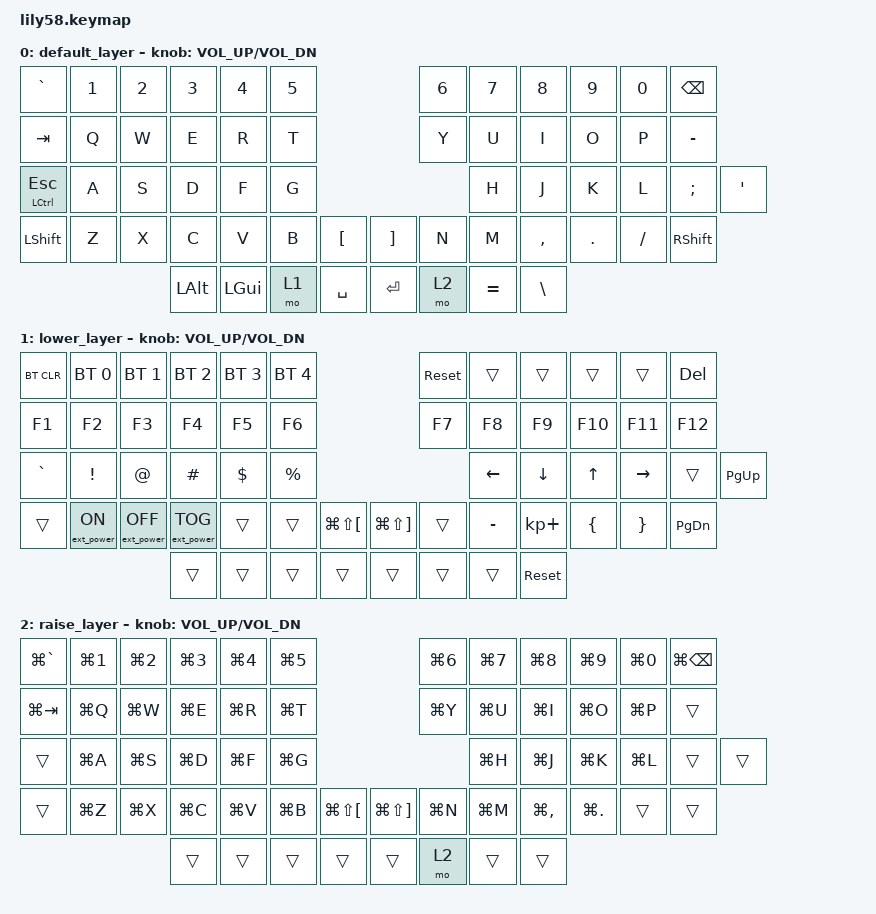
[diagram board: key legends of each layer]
/*
 * Copyright (c) 2020 The ZMK Contributors
 *
 * SPDX-License-Identifier: MIT
 */

#include <behaviors.dtsi>
#include <dt-bindings/zmk/keys.h>
#include <dt-bindings/zmk/bt.h>
#include <dt-bindings/zmk/ext_power.h>
#include <dt-bindings/zmk/outputs.h>

&mt {
  tapping-term-ms = <200>;
};

/ {
	keymap {
		compatible = "zmk,keymap";

		default_layer {
// ------------------------------------------------------------------------------------------------------------
// |  ESC  |  1  |  2  |  3   |  4   |  5   |                   |  6   |  7    |  8    |  9   |   0   |   `   |
// |  TAB  |  Q  |  W  |  E   |  R   |  T   |                   |  Y   |  U    |  I    |  O   |   P   |   -   |
// |  CTRL |  A  |  S  |  D   |  F   |  G   |                   |  H   |  J    |  K    |  L   |   ;   |   '   |
// | SHIFT |  Z  |  X  |  C   |  V   |  B   |   "["  |  |  "]"  |  N   |  M    |  ,    |  .   |   /   | SHIFT |
//                     | ALT  | GUI  | LOWER|  SPACE |  | ENTER | RAISE| BSPC  | GUI   |
			bindings = <
&kp GRAVE   &kp N1 &kp N2 &kp N3   &kp N4   &kp N5                     &kp N6 &kp N7   &kp N8    &kp N9  &kp N0   &kp BSPC
&kp TAB   &kp Q  &kp W  &kp E    &kp R    &kp T                      &kp Y  &kp U    &kp I     &kp O   &kp P    &kp MINUS
&mt LCTRL ESC &kp A  &kp S  &kp D    &kp F    &kp G                      &kp H  &kp J    &kp K     &kp L   &kp SEMI &kp SQT
&kp LSHFT &kp Z  &kp X  &kp C    &kp V    &kp B  &kp LBKT   &kp RBKT &kp N  &kp M    &kp COMMA &kp DOT &kp FSLH &kp RSHFT
                        &kp LALT &kp LGUI &mo 1  &kp SPACE  &kp RET  &mo 2  &kp EQUAL &kp BSLH
			>;

			sensor-bindings = <&inc_dec_kp C_VOL_UP C_VOL_DN>;
		};

		lower_layer {
// ------------------------------------------------------------------------------------------------------------
// | BTCLR | BT1 | BT2 |  BT3 |  BT4 |  BT5 |                   |      |       |       |      |       |       |
// |  F1   |  F2 |  F3 |  F4  |  F5  |  F6  |                   |  F7  |  F8   |  F9   |  F10 |  F11  |  F12  |
// |   `   |  !  |  @  |  #   |  $   |  %   |                   |  ^   |  &    |  *    |  (   |   )   |   ~   |
// |       |     |     |      |      |      |        |  |       |      |  _    |  +    |  {   |   }   |  "|"  |
//                     |      |      |      |        |  |       |      |       |       |
			bindings = <
&bt BT_CLR &bt BT_SEL 0     &bt BT_SEL 1      &bt BT_SEL 2      &bt BT_SEL 3 &bt BT_SEL 4                 &sys_reset    &trans    &trans          &trans    &trans    &kp DEL
&kp F1     &kp F2           &kp F3            &kp F4            &kp F5       &kp F6                       &kp F7    &kp F8    &kp F9          &kp F10   &kp F11   &kp F12
&kp GRAVE  &kp EXCL         &kp AT            &kp HASH          &kp DOLLAR   &kp PRCNT                    &kp LEFT  &kp DOWN  &kp UP          &kp RIGHT &trans    &kp PG_UP
&trans     &ext_power EP_ON &ext_power EP_OFF &ext_power EP_TOG &trans       &trans    &kp LG(LS(LBKT))   &kp LG(LS(RBKT))    &trans    &kp MINUS &kp KP_PLUS     &kp LBRC  &kp RBRC  &kp PG_DN
                                              &trans            &trans       &trans    &trans   &trans    &trans    &trans    &sys_reset
			>;

			sensor-bindings = <&inc_dec_kp C_VOL_UP C_VOL_DN>;
		};

		raise_layer {
// ------------------------------------------------------------------------------------------------------------
// |       |     |     |      |      |      |                   |      |       |       |      |       |       |
// |   `   |  1  |  2  |  3   |  4   |  5   |                   |  6   |   7   |   8   |  9   |   0   |       |
// |   F1  |  F2 |  F3 |  F4  |  F5  |  F6  |                   |      |   <-  |   v   |  ^   |  ->   |       |
// |   F7  |  F8 |  F9 |  F10 |  F11 |  F12 |        |  |       |  +   |   -   |   =   |  [   |   ]   |   \   |
//                     |      |      |      |        |  |       |      |       |       |
      bindings = <
&kp LG(GRAVE)   &kp LG(N1) &kp LG(N2) &kp LG(N3)   &kp LG(N4)   &kp LG(N5)                     &kp LG(N6) &kp LG(N7)   &kp LG(N8)    &kp LG(N9)  &kp LG(N0)   &kp LG(BSPC)
&kp LG(TAB)   &kp LG(Q)  &kp LG(W)  &kp LG(E)    &kp LG(R)    &kp LG(T)                      &kp LG(Y)  &kp LG(U)    &kp LG(I)     &kp LG(O)   &kp LG(P)    &trans
&trans &kp LG(A)  &kp LG(S)  &kp LG(D)    &kp LG(F)    &kp LG(G)                      &kp LG(H)  &kp LG(J)    &kp LG(K)     &kp LG(L)  &trans &trans
&trans &kp LG(Z)  &kp LG(X)  &kp LG(C)    &kp LG(V)    &kp LG(B)  &kp LG(LS(LBKT))   &kp LG(LS(RBKT)) &kp LG(N)  &kp LG(M)    &kp LG(COMMA) &kp LG(DOT) &trans &trans
                        &trans &trans &trans &trans &trans &mo 2  &trans &trans
      >;
			sensor-bindings = <&inc_dec_kp C_VOL_UP C_VOL_DN>;
		};
	};
};
